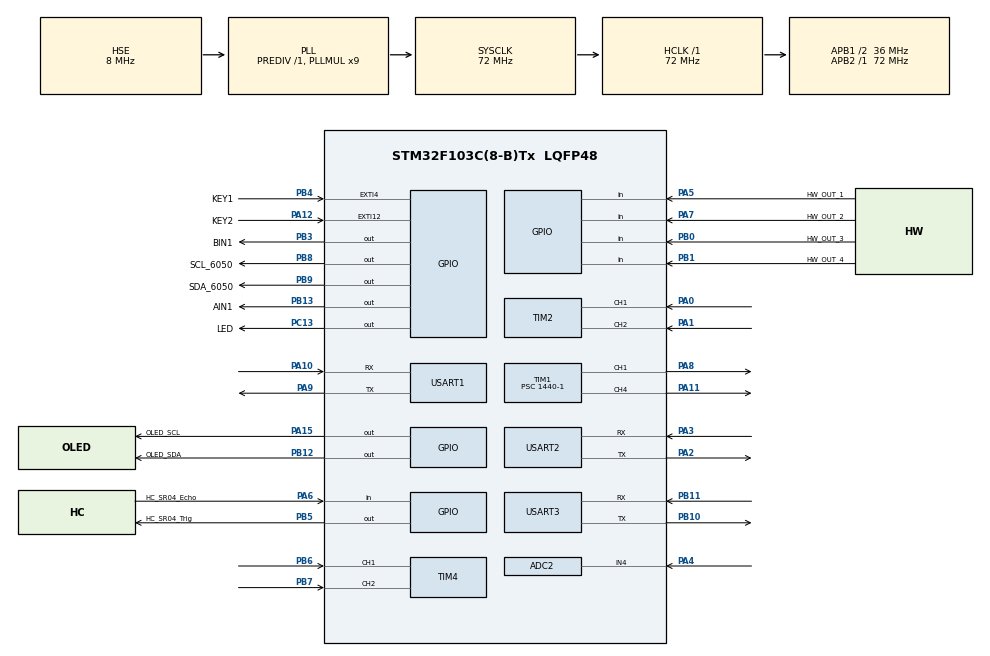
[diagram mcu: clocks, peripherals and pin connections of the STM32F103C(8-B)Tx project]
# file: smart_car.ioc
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ADC2.Channel-0\#ChannelRegularConversion=ADC_CHANNEL_4
ADC2.NbrOfConversionFlag=1
ADC2.Rank-0\#ChannelRegularConversion=1
ADC2.SamplingTime-0\#ChannelRegularConversion=ADC_SAMPLETIME_13CYCLES_5
FREERTOS.INCLUDE_uxTaskGetStackHighWaterMark=1
FREERTOS.Queues01=myQueueMode,1,uint8_t,0,Dynamic,NULL,NULL
FREERTOS.Tasks01=StopTask,2,128,StartStopTask,Default,NULL,Dynamic,NULL,NULL;LedTask,0,128,StartLedTask,Default,NULL,Dynamic,NULL,NULL;OledTask,0,128,StartOledTask,Default,NULL,Dynamic,NULL,NULL;MultiModeTask,1,128,StartMultiModeTask,Default,NULL,Dynamic,NULL,NULL
Mcu.Family=STM32F1
Mcu.Name=STM32F103C(8-B)Tx
Mcu.Package=LQFP48
NVIC.EXTI15_10_IRQn=true\:5\:0\:true\:false\:true\:true\:true\:true\:true
NVIC.EXTI4_IRQn=true\:5\:0\:true\:false\:true\:true\:true\:true\:true
NVIC.PriorityGroup=NVIC_PRIORITYGROUP_4
NVIC.TIM1_UP_IRQn=true\:5\:0\:false\:false\:true\:true\:true\:true\:true
NVIC.TIM2_IRQn=true\:5\:0\:false\:false\:true\:true\:true\:true\:true
NVIC.TIM3_IRQn=true\:15\:0\:false\:false\:true\:false\:false\:true\:true
NVIC.TIM4_IRQn=true\:5\:0\:false\:false\:true\:true\:true\:true\:true
NVIC.TimeBase=TIM3_IRQn
NVIC.TimeBaseIP=TIM3
NVIC.USART1_IRQn=true\:5\:0\:false\:false\:true\:true\:true\:true\:true
NVIC.USART2_IRQn=true\:5\:0\:false\:false\:true\:true\:true\:true\:true
NVIC.USART3_IRQn=true\:5\:0\:false\:false\:true\:true\:true\:true\:true
PA0-WKUP.GPIO_PuPd=GPIO_PULLUP
PA0-WKUP.Signal=S_TIM2_CH1_ETR
PA1.GPIO_PuPd=GPIO_PULLUP
PA1.Signal=S_TIM2_CH2
PA10.Mode=Asynchronous
PA10.Signal=USART1_RX
PA11.Signal=S_TIM1_CH4
PA12.GPIO_Label=KEY2
PA12.GPIO_ModeDefaultEXTI=GPIO_MODE_IT_FALLING
PA12.GPIO_PuPd=GPIO_PULLUP
PA12.Signal=GPXTI12
PA13.Mode=Serial_Wire
PA13.Signal=SYS_JTMS-SWDIO
PA14.Mode=Serial_Wire
PA14.Signal=SYS_JTCK-SWCLK
PA15.GPIO_Label=OLED_SCL
PA15.GPIO_PuPd=GPIO_PULLUP
PA15.PinState=GPIO_PIN_SET
PA15.Signal=GPIO_Output
PA2.Mode=Asynchronous
PA2.Signal=USART2_TX
PA3.Mode=Asynchronous
PA3.Signal=USART2_RX
PA4.Signal=ADCx_IN4
PA5.GPIO_Label=HW_OUT_1
PA5.Signal=GPIO_Input
PA6.GPIO_Label=HC_SR04_Echo
PA6.Signal=GPIO_Input
PA7.GPIO_Label=HW_OUT_2
PA7.Signal=GPIO_Input
PA8.Signal=S_TIM1_CH1
PA9.Mode=Asynchronous
PA9.Signal=USART1_TX
PB0.GPIO_Label=HW_OUT_3
PB0.Signal=GPIO_Input
PB1.GPIO_Label=HW_OUT_4
PB1.Signal=GPIO_Input
PB10.Mode=Asynchronous
PB10.Signal=USART3_TX
PB11.Mode=Asynchronous
PB11.Signal=USART3_RX
PB12.GPIO_Label=OLED_SDA
PB12.GPIO_PuPd=GPIO_PULLUP
PB12.PinState=GPIO_PIN_SET
PB12.Signal=GPIO_Output
PB13.GPIO_Label=AIN1
PB13.Signal=GPIO_Output
PB3.GPIO_Label=BIN1
PB3.Signal=GPIO_Output
PB4.GPIO_Label=KEY1
PB4.GPIO_ModeDefaultEXTI=GPIO_MODE_IT_RISING
PB4.GPIO_PuPd=GPIO_PULLDOWN
PB4.Signal=GPXTI4
PB5.GPIO_Label=HC_SR04_Trig
PB5.Signal=GPIO_Output
PB6.GPIO_PuPd=GPIO_PULLUP
PB6.Signal=S_TIM4_CH1
PB7.GPIO_PuPd=GPIO_PULLUP
PB7.Signal=S_TIM4_CH2
PB8.GPIO_Label=SCL_6050
PB8.PinState=GPIO_PIN_SET
PB8.Signal=GPIO_Output
PB9.GPIO_Label=SDA_6050
PB9.PinState=GPIO_PIN_SET
PB9.Signal=GPIO_Output
PC13-TAMPER-RTC.GPIO_Label=LED
PC13-TAMPER-RTC.Signal=GPIO_Output
PD0-OSC_IN.Mode=HSE-External-Oscillator
PD0-OSC_IN.Signal=RCC_OSC_IN
PD1-OSC_OUT.Mode=HSE-External-Oscillator
PD1-OSC_OUT.Signal=RCC_OSC_OUT
ProjectManager.HeapSize=0x800
ProjectManager.StackSize=0x800
ProjectManager.TargetToolchain=MDK-ARM V5.32
RCC.ADCPresc=RCC_ADCPCLK2_DIV6
RCC.AHBFreq_Value=72000000
RCC.APB1CLKDivider=RCC_HCLK_DIV2
RCC.APB1Freq_Value=36000000
RCC.APB1TimFreq_Value=72000000
RCC.APB2Freq_Value=72000000
RCC.APB2TimFreq_Value=72000000
RCC.HCLKFreq_Value=72000000
RCC.PLLMUL=RCC_PLL_MUL9
RCC.PLLSourceVirtual=RCC_PLLSOURCE_HSE
RCC.SYSCLKFreq_VALUE=72000000
RCC.SYSCLKSource=RCC_SYSCLKSOURCE_PLLCLK
RCC.USBFreq_Value=72000000
SH.ADCx_IN4.0=ADC2_IN4,IN4
SH.S_TIM1_CH1.0=TIM1_CH1,PWM Generation1 CH1
SH.S_TIM1_CH4.0=TIM1_CH4,PWM Generation4 CH4
SH.S_TIM2_CH1_ETR.0=TIM2_CH1,Encoder_Interface
SH.S_TIM2_CH2.0=TIM2_CH2,Encoder_Interface
SH.S_TIM4_CH1.0=TIM4_CH1,Encoder_Interface
SH.S_TIM4_CH2.0=TIM4_CH2,Encoder_Interface
TIM1.AutoReloadPreload=TIM_AUTORELOAD_PRELOAD_ENABLE
TIM1.Channel-PWM\ Generation1\ CH1=TIM_CHANNEL_1
TIM1.Channel-PWM\ Generation4\ CH4=TIM_CHANNEL_4
TIM1.Period=100-1
TIM1.Prescaler=1440-1
TIM1.Pulse-PWM\ Generation1\ CH1=50
TIM1.Pulse-PWM\ Generation4\ CH4=50
TIM2.EncoderMode=TIM_ENCODERMODE_TI12
TIM2.IC1Filter=6
TIM2.IC2Filter=6
TIM4.EncoderMode=TIM_ENCODERMODE_TI12
TIM4.IC1Filter=6
TIM4.IC2Filter=6
USART1.VirtualMode=VM_ASYNC
USART2.VirtualMode=VM_ASYNC
USART3.VirtualMode=VM_ASYNC
VP_FREERTOS_VS_CMSIS_V1.Mode=CMSIS_V1
VP_SYS_VS_tim3.Mode=TIM3
VP_TIM1_VS_ClockSourceINT.Mode=Internal
board=custom

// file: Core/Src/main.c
/* USER CODE BEGIN Header */
/**
  ******************************************************************************
  * @file           : main.c
  * @brief          : Main program body
  ******************************************************************************
  * @attention
  *
  * Copyright (c) 2022 STMicroelectronics.
  * All rights reserved.
  *
  * This software is licensed under terms that can be found in the LICENSE file
  * in the root directory of this software component.
  * If no LICENSE file comes with this software, it is provided AS-IS.
  *
  ******************************************************************************
  */

/* USER CODE END Header */
#include "main.h"
#include "cmsis_os.h"
#include "adc.h"
#include "tim.h"
#include "usart.h"
#include "gpio.h"

/* USER CODE BEGIN Includes */
#include "oled.h"
#include "stdio.h"
#include "motor.h"
#include "niming.h"
#include "pid.h"

#include "cJSON.h"
#include <string.h>
#include "HC_SR04.h"

#include "mpu6050.h"
#include "inv_mpu.h"
#include "inv_mpu_dmp_motion_driver.h"
/* USER CODE END Includes */

/* USER CODE BEGIN PM */

short Encode1Count = 0;
short Encode2Count = 0;
float Motor1Speed = 0.00;
float Motor2Speed = 0.00;
uint16_t TimerCount = 0;

extern tPid pidMotor1Speed;
extern tPid pidMotor2Speed;
extern tPid pidFollow;
extern tPid pidMPU6050YawMovement;
extern uint8_t Usart1_ReadBuf[255];
float p,i,d,a,b;
uint8_t OledString[50];
extern float Mileage;

extern tPid pidHW_Tracking;
extern tPid pidOpenmv_Tracking;

uint8_t g_ucaHW_Read[4] = {0};
int8_t g_cThisState = 0;
int8_t g_cLastState = 0;
float g_fHW_PID_Out;
float g_fHW_PID_Out1;
float g_fHW_PID_Out2;

uint8_t g_ucUsart3ReceiveData;
uint8_t g_ucUsart2ReceiveData;

uint8_t Usart3String[50];
float g_fHC_SR04_Read;
float g_fFollow_PID_Out;

float pitch,roll,yaw;

float  g_fMPU6050YawMovePidOut = 0.00f;
float  g_fMPU6050YawMovePidOut1 = 0.00f;
float  g_fMPU6050YawMovePidOut2 = 0.00f;

uint8_t g_ucMode = 0;

extern int g_lHW_State;

/* USER CODE END PM */

void SystemClock_Config(void);
void MX_FREERTOS_Init(void);

int main(void)
{

  /* MCU Configuration--------------------------------------------------------*/

  /* Reset of all peripherals, Initializes the Flash interface and the Systick. */
  HAL_Init();

  /* Configure the system clock */
  SystemClock_Config();

  /* Initialize all configured peripherals */
  MX_GPIO_Init();
  MX_USART1_UART_Init();
  MX_TIM1_Init();
  MX_TIM2_Init();
  MX_TIM4_Init();
  MX_ADC2_Init();
  MX_USART3_UART_Init();
  MX_USART2_UART_Init();
  /* USER CODE BEGIN 2 */
  OLED_Init();
  OLED_Clear()  	;
  HAL_TIM_PWM_Start(&htim1,TIM_CHANNEL_1);
  HAL_TIM_PWM_Start(&htim1,TIM_CHANNEL_4);
  HAL_TIM_Encoder_Start(&htim2,TIM_CHANNEL_ALL);
  HAL_TIM_Encoder_Start(&htim4,TIM_CHANNEL_ALL);
  HAL_TIM_Base_Start_IT(&htim2);
  HAL_TIM_Base_Start_IT(&htim4);

  HAL_TIM_Base_Start_IT(&htim1);
  __HAL_UART_ENABLE_IT(&huart1,UART_IT_RXNE);
  PID_init();
  HAL_UART_Receive_IT(&huart3,&g_ucUsart3ReceiveData,1);

  HAL_UART_Receive_IT(&huart2,&g_ucUsart2ReceiveData,1);

  HAL_Delay(500);

  __HAL_UART_ENABLE_IT(&huart2, UART_IT_ERR);

//  cJSON *cJsonData ,*cJsonVlaue;
  /* USER CODE END 2 */

  /* Call init function for freertos objects (in freertos.c) */
  MX_FREERTOS_Init();

  /* Start scheduler */
  osKernelStart();

  /* We should never get here as control is now taken by the scheduler */
  /* Infinite loop */
  while (1)
  {
    /* USER CODE BEGIN 3 */

   }

//  }
  /* USER CODE END 3 */
}

void SystemClock_Config(void)
{
  RCC_OscInitTypeDef RCC_OscInitStruct = {0};
  RCC_ClkInitTypeDef RCC_ClkInitStruct = {0};
  RCC_PeriphCLKInitTypeDef PeriphClkInit = {0};

  /** Initializes the RCC Oscillators according to the specified parameters
  * in the RCC_OscInitTypeDef structure.
  */
  RCC_OscInitStruct.OscillatorType = RCC_OSCILLATORTYPE_HSE;
  RCC_OscInitStruct.HSEState = RCC_HSE_ON;
  RCC_OscInitStruct.HSEPredivValue = RCC_HSE_PREDIV_DIV1;
  RCC_OscInitStruct.HSIState = RCC_HSI_ON;
  RCC_OscInitStruct.PLL.PLLState = RCC_PLL_ON;
  RCC_OscInitStruct.PLL.PLLSource = RCC_PLLSOURCE_HSE;
  RCC_OscInitStruct.PLL.PLLMUL = RCC_PLL_MUL9;
  if (HAL_RCC_OscConfig(&RCC_OscInitStruct) != HAL_OK)
  {
    Error_Handler();
  }

  /** Initializes the CPU, AHB and APB buses clocks
  */
  RCC_ClkInitStruct.ClockType = RCC_CLOCKTYPE_HCLK|RCC_CLOCKTYPE_SYSCLK
                              |RCC_CLOCKTYPE_PCLK1|RCC_CLOCKTYPE_PCLK2;
  RCC_ClkInitStruct.SYSCLKSource = RCC_SYSCLKSOURCE_PLLCLK;
  RCC_ClkInitStruct.AHBCLKDivider = RCC_SYSCLK_DIV1;
  RCC_ClkInitStruct.APB1CLKDivider = RCC_HCLK_DIV2;
  RCC_ClkInitStruct.APB2CLKDivider = RCC_HCLK_DIV1;

  if (HAL_RCC_ClockConfig(&RCC_ClkInitStruct, FLASH_LATENCY_2) != HAL_OK)
  {
    Error_Handler();
  }
  PeriphClkInit.PeriphClockSelection = RCC_PERIPHCLK_ADC;
  PeriphClkInit.AdcClockSelection = RCC_ADCPCLK2_DIV6;
  if (HAL_RCCEx_PeriphCLKConfig(&PeriphClkInit) != HAL_OK)
  {
    Error_Handler();
  }
}

void Error_Handler(void)
{
  __disable_irq();
  while (1)
  {
  }
}

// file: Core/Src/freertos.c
/* USER CODE BEGIN Header */
/**
  ******************************************************************************
  * File Name          : freertos.c
  * Description        : Code for freertos applications
  ******************************************************************************
  * @attention
  *
  * Copyright (c) 2024 STMicroelectronics.
  * All rights reserved.
  *
  * This software is licensed under terms that can be found in the LICENSE file
  * in the root directory of this software component.
  * If no LICENSE file comes with this software, it is provided AS-IS.
  *
  ******************************************************************************
  */
/* USER CODE END Header */

#include "FreeRTOS.h"
#include "task.h"
#include "main.h"
#include "cmsis_os.h"

/* USER CODE BEGIN Includes */
#include "oled.h"
#include "stdio.h"
#include "motor.h"
#include "niming.h"
#include "pid.h"

#include "cJSON.h"
#include <string.h>
#include "HC_SR04.h"

#include "mpu6050.h"
#include "inv_mpu.h"
#include "inv_mpu_dmp_motion_driver.h"

#include "adc.h"
#include "tim.h"
#include "usart.h"
#include "gpio.h"

/* USER CODE END Includes */

/* USER CODE BEGIN PTD */
extern short Encode1Count ;
extern short Encode2Count ;
extern float Motor1Speed ;
extern float Motor2Speed ;
extern uint16_t TimerCount ;

extern tPid pidMotor1Speed;
extern tPid pidMotor2Speed;
extern tPid pidFollow;
extern tPid pidMPU6050YawMovement;
extern uint8_t Usart1_ReadBuf[255];
extern float p,i,d,a,b;
extern uint8_t OledString[50];
extern float Mileage;

extern tPid pidHW_Tracking;
extern tPid pidOpenmv_Tracking;

extern uint8_t g_ucaHW_Read[4] ;
extern int8_t g_cThisState ;
extern int8_t g_cLastState ;
extern float g_fHW_PID_Out;
extern float g_fHW_PID_Out1;
extern float g_fHW_PID_Out2;

extern uint8_t g_ucUsart3ReceiveData;
extern uint8_t g_ucUsart2ReceiveData;

extern uint8_t Usart3String[50];
extern float g_fHC_SR04_Read;
extern float g_fFollow_PID_Out;

extern float pitch,roll,yaw;

extern float  g_fMPU6050YawMovePidOut ;
extern float  g_fMPU6050YawMovePidOut1 ;
extern float  g_fMPU6050YawMovePidOut2 ;

extern uint8_t g_ucMode;

extern int g_lHW_State;

/* USER CODE END PTD */

osThreadId StopTaskHandle;
osThreadId LedTaskHandle;
osThreadId OledTaskHandle;
osThreadId MultiModeTaskHandle;
osMessageQId myQueueModeHandle;

void StartStopTask(void const * argument);
void StartLedTask(void const * argument);
void StartOledTask(void const * argument);
void StartMultiModeTask(void const * argument);

void MX_FREERTOS_Init(void); /* (MISRA C 2004 rule 8.1) */

/* GetIdleTaskMemory prototype (linked to static allocation support) */
void vApplicationGetIdleTaskMemory( StaticTask_t **ppxIdleTaskTCBBuffer, StackType_t **ppxIdleTaskStackBuffer, uint32_t *pulIdleTaskStackSize );

/* USER CODE BEGIN GET_IDLE_TASK_MEMORY */
static StaticTask_t xIdleTaskTCBBuffer;
static StackType_t xIdleStack[configMINIMAL_STACK_SIZE];

void vApplicationGetIdleTaskMemory( StaticTask_t **ppxIdleTaskTCBBuffer, StackType_t **ppxIdleTaskStackBuffer, uint32_t *pulIdleTaskStackSize )
{
  *ppxIdleTaskTCBBuffer = &xIdleTaskTCBBuffer;
  *ppxIdleTaskStackBuffer = &xIdleStack[0];
  *pulIdleTaskStackSize = configMINIMAL_STACK_SIZE;
  /* place for user code */
}
/* USER CODE END GET_IDLE_TASK_MEMORY */

void MX_FREERTOS_Init(void)
{

  /* Create the queue(s) */
  /* definition and creation of myQueueMode */
  osMessageQDef(myQueueMode, 1, uint8_t);
  myQueueModeHandle = osMessageCreate(osMessageQ(myQueueMode), NULL);

  /* Create the thread(s) */
  /* definition and creation of StopTask */
  osThreadDef(StopTask, StartStopTask, osPriorityHigh, 0, 128);
  StopTaskHandle = osThreadCreate(osThread(StopTask), NULL);

  /* definition and creation of LedTask */
  osThreadDef(LedTask, StartLedTask, osPriorityNormal, 0, 128);
  LedTaskHandle = osThreadCreate(osThread(LedTask), NULL);

  /* definition and creation of OledTask */
  osThreadDef(OledTask, StartOledTask, osPriorityNormal, 0, 128);
  OledTaskHandle = osThreadCreate(osThread(OledTask), NULL);

  /* definition and creation of MultiModeTask */
  osThreadDef(MultiModeTask, StartMultiModeTask, osPriorityAboveNormal, 0, 128);
  MultiModeTaskHandle = osThreadCreate(osThread(MultiModeTask), NULL);

}

void StartStopTask(void const * argument)
{

  /* USER CODE BEGIN StartStopTask */
  uint8_t receivedMode;
  /* Infinite loop */
  for(;;)
  {

    if (xQueuePeek(myQueueModeHandle, &receivedMode, 0) == errQUEUE_EMPTY)
    {
      receivedMode = 0;
    }
    if(receivedMode == 0)
    {
      motorPidSetSpeed(0,0);
    }

    osDelay(10);
  }
  /* USER CODE END StartStopTask */
}

void StartLedTask(void const * argument)
{
  /* USER CODE BEGIN StartLedTask */
  /* Infinite loop */
  for(;;)
  {

    HAL_GPIO_TogglePin(LED_GPIO_Port,LED_Pin);
    osDelay(300);
  }
  /* USER CODE END StartLedTask */
}

void StartOledTask(void const * argument)
{
  /* USER CODE BEGIN StartOledTask */

  uint8_t readMode;

  /* Infinite loop */
  for(;;)
  {

    if (xQueuePeek(myQueueModeHandle, &readMode, 0) == errQUEUE_EMPTY)
    {
      readMode = 0;
    }

    sprintf((char *)OledString," g_ucMode:%d",readMode);
    OLED_ShowString(0,6,OledString,12);

    sprintf((char*)OledString, "lHW:%d  ", g_lHW_State);
    OLED_ShowString(0,7,OledString,12);//

    sprintf((char *)Usart3String," g_ucMode:%d",readMode);
    HAL_UART_Transmit(&huart3,( uint8_t *)Usart3String,strlen(( const  char  *)Usart3String),50);

    //0LED��ʾ����
    sprintf((char*)OledString, "V1:%.2fV2:%.2f", Motor1Speed,Motor2Speed);
    OLED_ShowString(0,0,OledString,12);

    sprintf((char*)OledString, "Mileage:%.2f", Mileage);
    OLED_ShowString(0,1,OledString,12);

    sprintf((char*)OledString, "U:%.2fV", adcGetBatteryVoltage());
    OLED_ShowString(0,2,OledString,12);

    uint8_t batteryLevel = adcGetBatteryLevel();
    switch(batteryLevel) {
        case 0:
            OLED_ShowString(0,3,"Battery: LOW!",12);
            break;
        case 1:
            OLED_ShowString(0,3,"Battery: 25%",12);
            break;
        case 2:
            OLED_ShowString(0,3,"Battery: 50%",12);
            break;
        case 3:
            OLED_ShowString(0,3,"Battery: 75%",12);
            break;
    }

    sprintf((char *)OledString,"HC_SR04:%.2fcm\r\n",HC_SR04_Read());
    OLED_ShowString(0,4,OledString,12);

    sprintf((char *)OledString,"p:%.2f r:%.2f \r\n",pitch,roll);
    OLED_ShowString(0,5,OledString,12);

    sprintf((char *)OledString,"y:%.2f  \r\n",yaw);
    OLED_ShowString(0,5,OledString,12);

    //����APP��ʾ
    sprintf((char*)Usart3String, "V1:%.2fV2:%.2f", Motor1Speed,Motor2Speed);
    HAL_UART_Transmit(&huart3,( uint8_t *)Usart3String,strlen(( const  char  *)Usart3String),50);

    sprintf((char*)Usart3String, "Mileage:%.2f", Mileage);
    HAL_UART_Transmit(&huart3,( uint8_t *)Usart3String,strlen(( const  char  *)Usart3String),50);

    sprintf((char*)Usart3String, "U:%.2fV", adcGetBatteryVoltage());
    HAL_UART_Transmit(&huart3,( uint8_t *)Usart3String,strlen(( const  char  *)Usart3String),50);
    sprintf((char *)Usart3String,"HC_SR04:%.2fcm\r\n",HC_SR04_Read());
    HAL_UART_Transmit(&huart3,( uint8_t *)Usart3String,strlen(( const  char  *)Usart3String),50);

    sprintf((char *)Usart3String,"p:%.2f r:%.2f \r\n",pitch,roll);
    HAL_UART_Transmit(&huart3,( uint8_t *)Usart3String,strlen(( const  char  *)Usart3String),50);

    sprintf((char *)Usart3String,"y:%.2f  \r\n",yaw);
    HAL_UART_Transmit(&huart3,( uint8_t *)Usart3String,strlen(( const  char  *)Usart3String),50);

    for(uint8_t i = 0; i < 20 ; i++)
    {
      if(mpu_dmp_get_data(&pitch,&roll,&yaw) == 0)
      {
        printf("mpu_dmp_get_data()  success\n");
        break;
      }

      if(i == 20-1 )
      {
        printf("mpu_dmp_get_data()  fail\n");
      }
    }

    osDelay(10);
  }
  /* USER CODE END StartOledTask */
}

void StartMultiModeTask(void const * argument)
{
  /* USER CODE BEGIN StartMultiModeTask */

  uint8_t readMode;

  /* Infinite loop */
  for(;;)
  {

    if (xQueuePeek(myQueueModeHandle, &readMode, 0) == errQUEUE_EMPTY)
    {
      readMode = 0;
    }

    if(readMode == 1)
    {
      //����PIDѭ��
      g_ucaHW_Read[0] = READ_HW_OUT_1;
      g_ucaHW_Read[1] = READ_HW_OUT_2;
      g_ucaHW_Read[2] = READ_HW_OUT_3;
      g_ucaHW_Read[3] = READ_HW_OUT_4;

      if(g_ucaHW_Read[0] == 0&&g_ucaHW_Read[1] == 0&&g_ucaHW_Read[2] == 0&&g_ucaHW_Read[3] == 0 )
      {

        g_cThisState = 0;
      }
      else if(g_ucaHW_Read[0] == 0&&g_ucaHW_Read[1] == 1&&g_ucaHW_Read[2] == 0&&g_ucaHW_Read[3] == 0 )
      {

        g_cThisState = -1;
      }
      else if(g_ucaHW_Read[0] == 1&&g_ucaHW_Read[1] == 0&&g_ucaHW_Read[2] == 0&&g_ucaHW_Read[3] == 0 )
      {

        g_cThisState = -2;
      }
      else if(g_ucaHW_Read[0] == 1&&g_ucaHW_Read[1] == 1&&g_ucaHW_Read[2] == 0&&g_ucaHW_Read[3] == 0)
      {

        g_cThisState = -3;
      }
      else if(g_ucaHW_Read[0] == 0&&g_ucaHW_Read[1] == 0&&g_ucaHW_Read[2] == 1&&g_ucaHW_Read[3] == 0 )
      {

        g_cThisState = 1;
      }
      else if(g_ucaHW_Read[0] == 0&&g_ucaHW_Read[1] == 0&&g_ucaHW_Read[2] == 0&&g_ucaHW_Read[3] == 1 )
      {

        g_cThisState = 2;
      }
      else if(g_ucaHW_Read[0] == 0&&g_ucaHW_Read[1] == 0&&g_ucaHW_Read[2] == 1&&g_ucaHW_Read[3] == 1)
      {

        g_cThisState = 3;
      }
      g_fHW_PID_Out = PID_realize(&pidHW_Tracking,g_cThisState);

      g_fHW_PID_Out1 = 3 + g_fHW_PID_Out;
      g_fHW_PID_Out2 = 3 - g_fHW_PID_Out;
      if(g_fHW_PID_Out1 >5) g_fHW_PID_Out1 =5;
      if(g_fHW_PID_Out1 <0) g_fHW_PID_Out1 =0;
      if(g_fHW_PID_Out2 >5) g_fHW_PID_Out2 =5;
      if(g_fHW_PID_Out2 <0) g_fHW_PID_Out2 =0;
      if(g_cThisState != g_cLastState)
      {
        motorPidSetSpeed(g_fHW_PID_Out1,g_fHW_PID_Out2);
      }

      g_cLastState = g_cThisState;

    }

    if(readMode == 2)
    {
      //�����߼�
      if(HC_SR04_Read() > 25)
      {
        motorPidSetSpeed(1,1);
        osDelay(100);
      }
      else
      {
        motorPidSetSpeed(-1,1);
        osDelay(500);
        if(HC_SR04_Read() > 25)
        {
          motorPidSetSpeed(1,1);
          osDelay(100);
        }
        else
        {
          motorPidSetSpeed(1,-1);
          osDelay(1000);
          if(HC_SR04_Read() >25)
          {
            motorPidSetSpeed(1,1);
            osDelay(100);
          }
          else
          {
            motorPidSetSpeed(-1,-1);
            osDelay(1000);
            motorPidSetSpeed(-1,1);
            osDelay(50);
          }
        }
      }
    }
    if(readMode == 3)
    {
      g_fHC_SR04_Read=HC_SR04_Read();
      if(g_fHC_SR04_Read < 60)
      {
        g_fFollow_PID_Out = PID_realize(&pidFollow,g_fHC_SR04_Read);
        if(g_fFollow_PID_Out > 6) g_fFollow_PID_Out = 6;
        if(g_fFollow_PID_Out < -6) g_fFollow_PID_Out = -6;
        motorPidSetSpeed(g_fFollow_PID_Out,g_fFollow_PID_Out);
      }
      else motorPidSetSpeed(0,0);
      osDelay(10);
    }
    if(readMode == 4)
    {
			//mpu6050 pid control
      sprintf((char *)Usart3String,"pitch:%.2f roll:%.2f yaw:%.2f\r\n",pitch,roll,yaw);
      HAL_UART_Transmit(&huart3,( uint8_t *)Usart3String,strlen(( const  char  *)Usart3String),0xFFFF);

      for(uint8_t i = 0; i < 20 ; i++)
      {
        if(mpu_dmp_get_data(&pitch,&roll,&yaw) == 0)
        {
          printf("mpu_dmp_get_data() success\n");
        }

        if(i == 20-1 )
        {
          printf("mpu_dmp_get_data()  fail\n");
        }

        g_fMPU6050YawMovePidOut = PID_realize(&pidMPU6050YawMovement,yaw);

        g_fMPU6050YawMovePidOut1 = 1.5 + g_fMPU6050YawMovePidOut;
        g_fMPU6050YawMovePidOut2 = 1.5 - g_fMPU6050YawMovePidOut;
        if(g_fMPU6050YawMovePidOut1 >3.5) g_fMPU6050YawMovePidOut1 =3.5;
        if(g_fMPU6050YawMovePidOut1 <0) g_fMPU6050YawMovePidOut1 =0;
        if(g_fMPU6050YawMovePidOut2 >3.5) g_fMPU6050YawMovePidOut2 =3.5;
        if(g_fMPU6050YawMovePidOut2 <0) g_fMPU6050YawMovePidOut2 =0;
        motorPidSetSpeed(g_fMPU6050YawMovePidOut1,g_fMPU6050YawMovePidOut2);
      }
    }
    osDelay(1);
  }
  /* USER CODE END StartMultiModeTask */
}
